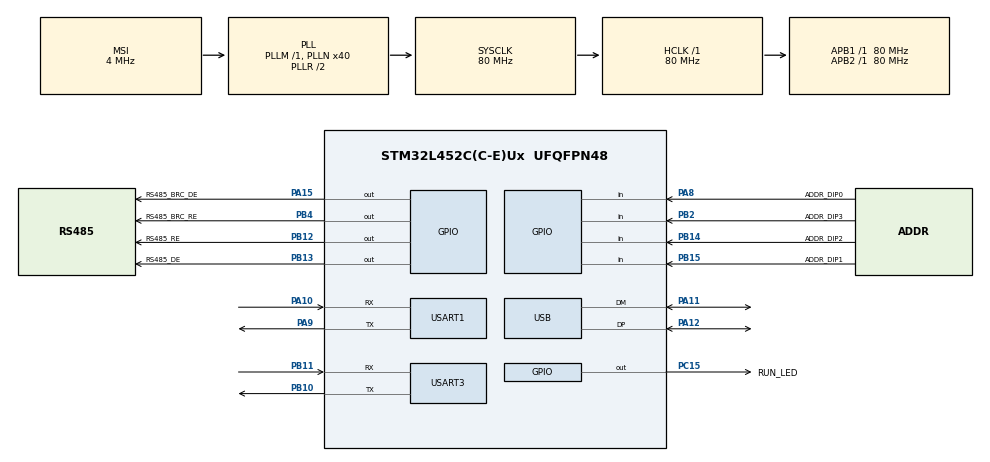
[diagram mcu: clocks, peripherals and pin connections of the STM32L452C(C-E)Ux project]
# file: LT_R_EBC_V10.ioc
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IWDG.Prescaler=IWDG_PRESCALER_32
Mcu.Family=STM32L4
Mcu.Name=STM32L452C(C-E)Ux
Mcu.Package=UFQFPN48
NVIC.PriorityGroup=NVIC_PRIORITYGROUP_4
NVIC.TIM1_CC_IRQn=true\:0\:0\:false\:false\:true\:true\:true\:true
NVIC.TIM2_IRQn=true\:0\:0\:false\:false\:true\:true\:true\:true
NVIC.TIM3_IRQn=true\:0\:0\:false\:false\:true\:true\:true\:true
NVIC.USART1_IRQn=true\:0\:0\:false\:false\:true\:true\:true\:true
NVIC.USART3_IRQn=true\:0\:0\:false\:false\:true\:true\:true\:true
NVIC.USB_IRQn=true\:0\:0\:false\:false\:true\:false\:true\:true
PA10.Mode=Asynchronous
PA10.Signal=USART1_RX
PA11.Mode=Device
PA11.Signal=USB_DM
PA12.Mode=Device
PA12.Signal=USB_DP
PA13\ (JTMS/SWDIO).Mode=Trace_Asynchronous_SW
PA13\ (JTMS/SWDIO).Signal=SYS_JTMS-SWDIO
PA14\ (JTCK/SWCLK).Mode=Trace_Asynchronous_SW
PA14\ (JTCK/SWCLK).Signal=SYS_JTCK-SWCLK
PA15\ (JTDI).GPIO_Label=RS485_BRC_DE
PA15\ (JTDI).Signal=GPIO_Output
PA8.GPIO_Label=ADDR_DIP0
PA8.GPIO_PuPd=GPIO_PULLUP
PA8.Signal=GPIO_Input
PA9.Mode=Asynchronous
PA9.Signal=USART1_TX
PB10.Mode=Asynchronous
PB10.Signal=USART3_TX
PB11.Mode=Asynchronous
PB11.Signal=USART3_RX
PB12.GPIO_Label=RS485_RE
PB12.Signal=GPIO_Output
PB13.GPIO_Label=RS485_DE
PB13.Signal=GPIO_Output
PB14.GPIO_Label=ADDR_DIP2
PB14.GPIO_PuPd=GPIO_PULLUP
PB14.Signal=GPIO_Input
PB15.GPIO_Label=ADDR_DIP1
PB15.GPIO_PuPd=GPIO_PULLUP
PB15.Signal=GPIO_Input
PB2.GPIO_Label=ADDR_DIP3
PB2.GPIO_PuPd=GPIO_PULLUP
PB2.Signal=GPIO_Input
PB3\ (JTDO/TRACESWO).Mode=Trace_Asynchronous_SW
PB3\ (JTDO/TRACESWO).Signal=SYS_JTDO-SWO
PB4\ (NJTRST).GPIO_Label=RS485_BRC_RE
PB4\ (NJTRST).Signal=GPIO_Output
PC15-OSC32_OUT\ (PC15).GPIO_Label=RUN_LED
PC15-OSC32_OUT\ (PC15).Signal=GPIO_Output
ProjectManager.HeapSize=0x200
ProjectManager.StackSize=0x400
ProjectManager.TargetToolchain=STM32CubeIDE
RCC.ADCFreq_Value=48000000
RCC.AHBFreq_Value=80000000
RCC.APB1Freq_Value=80000000
RCC.APB1TimFreq_Value=80000000
RCC.APB2Freq_Value=80000000
RCC.APB2TimFreq_Value=80000000
RCC.CortexFreq_Value=80000000
RCC.HCLKFreq_Value=80000000
RCC.HSE_VALUE=8000000
RCC.HSI48_VALUE=48000000
RCC.HSI_VALUE=16000000
RCC.LSE_VALUE=32768
RCC.MSI_VALUE=4000000
RCC.PLLN=40
RCC.PLLSAI1N=24
RCC.SYSCLKFreq_VALUE=80000000
RCC.SYSCLKSource=RCC_SYSCLKSOURCE_PLLCLK
RCC.USBFreq_Value=48000000
RCC.VCOOutputFreq_Value=160000000
TIM1.Channel-Output\ Compare1\ No\ Output=TIM_CHANNEL_1
TIM1.Period=10000
TIM1.Prescaler=8000
TIM2.Channel-Output\ Compare1\ No\ Output=TIM_CHANNEL_1
TIM2.Period=20000
TIM2.Prescaler=800
TIM3.Channel-Output\ Compare1\ No\ Output=TIM_CHANNEL_1
TIM3.Period=20000
TIM3.Prescaler=8000
USART1.VirtualMode-Asynchronous=VM_ASYNC
USART3.VirtualMode-Asynchronous=VM_ASYNC
USB_DEVICE.CLASS_NAME_FS=CDC
USB_DEVICE.VirtualMode=Cdc
USB_DEVICE.VirtualModeFS=Cdc_FS
VP_IWDG_VS_IWDG.Mode=IWDG_Activate
VP_TIM1_VS_ClockSourceINT.Mode=Internal
VP_TIM1_VS_no_output1.Mode=Output Compare1 No Output
VP_TIM2_VS_ClockSourceINT.Mode=Internal
VP_TIM2_VS_no_output1.Mode=Output Compare1 No Output
VP_TIM3_VS_ClockSourceINT.Mode=Internal
VP_TIM3_VS_no_output1.Mode=Output Compare1 No Output
VP_USB_DEVICE_VS_USB_DEVICE_CDC_FS.Mode=CDC_FS
board=custom

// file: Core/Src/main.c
/* USER CODE BEGIN Header */
/**
  ******************************************************************************
  * @file           : main.c
  * @brief          : Main program body
  ******************************************************************************
  * @attention
  *
  * Copyright (c) 2025 STMicroelectronics.
  * All rights reserved.
  *
  * This software is licensed under terms that can be found in the LICENSE file
  * in the root directory of this software component.
  * If no LICENSE file comes with this software, it is provided AS-IS.
  *
  ******************************************************************************
  */
/* USER CODE END Header */
#include "main.h"
#include "usb_device.h"

/* USER CODE BEGIN Includes */
#include "Compile_Data.h"
/* USER CODE END Includes */

IWDG_HandleTypeDef hiwdg;

TIM_HandleTypeDef htim1;
TIM_HandleTypeDef htim2;
TIM_HandleTypeDef htim3;

UART_HandleTypeDef huart1;
UART_HandleTypeDef huart3;

/* USER CODE BEGIN PV */

uint8_t Uart_rx1_buf[rx1_buf_len] ;
uint8_t Uart_rx1_buf_tmp[3] ;
int rx1_State ;
int rx1_buf_count;
int rx1_buf_count_tmp;
int rx1_Receive_complete;

uint8_t Uart_rx3_buf[rx3_buf_len] ;
uint8_t Uart_rx3_buf_tmp[3] ;
int rx3_State ;
int rx3_buf_count;
int rx3_buf_count_tmp;
int rx3_Receive_complete;

uint8_t POL_Sens_Date[5] ;

uint8_t EB_Mode_tmp[4] ;
uint8_t EB_Mode[1] ;

uint8_t EB_Type, EB_Com , EB_Com_St;

#define EBC_Data_Num    1024
uint8_t EBC_Data[EBC_Data_Num][12] ;
uint8_t EBC_ARK = 0x06;
uint8_t EBC_NARK = 0x15;

int EBC_Data_Cur_Num = 0;

int Timer_1S = 0;
int Timer_2S = 0;
int Timer_4S = 0;

extern int BC_STOP_MODE;

/* USER CODE END PV */

void SystemClock_Config(void);
static void MX_GPIO_Init(void);
static void MX_TIM1_Init(void);
static void MX_TIM2_Init(void);
static void MX_TIM3_Init(void);
static void MX_USART3_UART_Init(void);
static void MX_USART1_UART_Init(void);
static void MX_IWDG_Init(void);

/* USER CODE BEGIN 0 */

///////////////Start timer interrupt operation function///////////////////

void HAL_TIM_OC_DelayElapsedCallback(TIM_HandleTypeDef *htim)
{
  if(htim->Instance == TIM1){
	  HAL_IWDG_Refresh(&hiwdg);
  }

}

/* USER CODE END 0 */

int main(void)
{

  /* MCU Configuration--------------------------------------------------------*/

  /* Reset of all peripherals, Initializes the Flash interface and the Systick. */
  HAL_Init();

  /* Configure the system clock */
  SystemClock_Config();

  /* Initialize all configured peripherals */
  MX_GPIO_Init();
  MX_TIM1_Init();
  MX_TIM2_Init();
  MX_TIM3_Init();
  MX_USART3_UART_Init();
  MX_USB_DEVICE_Init();
  MX_USART1_UART_Init();
  MX_IWDG_Init();
  /* USER CODE BEGIN 2 */

  for(int i=0;i<EBC_Data_Num;i++){
    for(int j=0;j<12;j++){
      EBC_Data[i][j] = 0;
    }
  }
  EB_Mode_tmp[0] =  ~(HAL_GPIO_ReadPin(ADDR_DIP0_GPIO_Port, ADDR_DIP0_Pin)) & 0x01;
  EB_Mode_tmp[1] =  ~(HAL_GPIO_ReadPin(ADDR_DIP1_GPIO_Port, ADDR_DIP1_Pin)) & 0x01;
  EB_Mode_tmp[2] =  ~(HAL_GPIO_ReadPin(ADDR_DIP2_GPIO_Port, ADDR_DIP2_Pin)) & 0x01;
  EB_Mode_tmp[3] =  ~(HAL_GPIO_ReadPin(ADDR_DIP3_GPIO_Port, ADDR_DIP3_Pin)) & 0x01;

  EB_Mode[0] = (EB_Mode_tmp[3] << 3)|(EB_Mode_tmp[2] << 2)|(EB_Mode_tmp[1] << 1)|(EB_Mode_tmp[0] << 0);
  EB_Type = EB_Mode[0];

  /* huart1 RX Interrupt  Enable */
  /* Process Unlocked */
  __HAL_UNLOCK(&huart1);
  /* Enable the UART Parity Error Interrupt */
  __HAL_UART_ENABLE_IT(&huart1, UART_IT_PE);
  /* Enable the UART Error Interrupt: (Frame error, noise error, overrun error) */
  __HAL_UART_ENABLE_IT(&huart1, UART_IT_ERR);
  /* Enable the UART Data Register not empty Interrupt */
  __HAL_UART_ENABLE_IT(&huart1, UART_IT_RXNE);

  /* huart3 RX Interrupt  Enable */
  /* Process Unlocked */
  __HAL_UNLOCK(&huart3);
  /* Enable the UART Parity Error Interrupt */
  __HAL_UART_ENABLE_IT(&huart3, UART_IT_PE);
  /* Enable the UART Error Interrupt: (Frame error, noise error, overrun error) */
  __HAL_UART_ENABLE_IT(&huart3, UART_IT_ERR);
  /* Enable the UART Data Register not empty Interrupt */
  __HAL_UART_ENABLE_IT(&huart3, UART_IT_RXNE);

  HAL_TIM_OC_Start_IT(&htim1,TIM_CHANNEL_1);
  HAL_TIM_OC_Start_IT(&htim2,TIM_CHANNEL_1);
  HAL_TIM_OC_Start_IT(&htim3,TIM_CHANNEL_1);

  POL_Sens_Date[0] = 0x02;
  POL_Sens_Date[1] = 0x50;
  POL_Sens_Date[2] = 0x4F;
  POL_Sens_Date[3] = 0x4C;
  POL_Sens_Date[4] = 0x03;

  Compile_Date();

  /* USER CODE END 2 */

  /* Infinite loop */
  while (1)
  {

    /* USER CODE BEGIN 3 */

	    /* Enable the UART Error Interrupt: (Frame error, noise error, overrun error) */
	    __HAL_UART_ENABLE_IT(&huart1, UART_IT_ERR);
	    /* Enable the UART Data Register not empty Interrupt */
	    __HAL_UART_ENABLE_IT(&huart1, UART_IT_RXNE);

	    /* Enable the UART Error Interrupt: (Frame error, noise error, overrun error) */
	    __HAL_UART_ENABLE_IT(&huart3, UART_IT_ERR);
	    /* Enable the UART Data Register not empty Interrupt */
	    __HAL_UART_ENABLE_IT(&huart3, UART_IT_RXNE);

	    if(rx3_Receive_complete == 1){
	      SW_Com();
	    }

  }
  /* USER CODE END 3 */
}

void SystemClock_Config(void)
{
  RCC_OscInitTypeDef RCC_OscInitStruct = {0};
  RCC_ClkInitTypeDef RCC_ClkInitStruct = {0};

  /** Configure the main internal regulator output voltage
  */
  if (HAL_PWREx_ControlVoltageScaling(PWR_REGULATOR_VOLTAGE_SCALE1) != HAL_OK)
  {
    Error_Handler();
  }

  /** Initializes the RCC Oscillators according to the specified parameters
  * in the RCC_OscInitTypeDef structure.
  */
  RCC_OscInitStruct.OscillatorType = RCC_OSCILLATORTYPE_LSI|RCC_OSCILLATORTYPE_MSI;
  RCC_OscInitStruct.LSIState = RCC_LSI_ON;
  RCC_OscInitStruct.MSIState = RCC_MSI_ON;
  RCC_OscInitStruct.MSICalibrationValue = 0;
  RCC_OscInitStruct.MSIClockRange = RCC_MSIRANGE_6;
  RCC_OscInitStruct.PLL.PLLState = RCC_PLL_ON;
  RCC_OscInitStruct.PLL.PLLSource = RCC_PLLSOURCE_MSI;
  RCC_OscInitStruct.PLL.PLLM = 1;
  RCC_OscInitStruct.PLL.PLLN = 40;
  RCC_OscInitStruct.PLL.PLLP = RCC_PLLP_DIV7;
  RCC_OscInitStruct.PLL.PLLQ = RCC_PLLQ_DIV2;
  RCC_OscInitStruct.PLL.PLLR = RCC_PLLR_DIV2;
  if (HAL_RCC_OscConfig(&RCC_OscInitStruct) != HAL_OK)
  {
    Error_Handler();
  }

  /** Initializes the CPU, AHB and APB buses clocks
  */
  RCC_ClkInitStruct.ClockType = RCC_CLOCKTYPE_HCLK|RCC_CLOCKTYPE_SYSCLK
                              |RCC_CLOCKTYPE_PCLK1|RCC_CLOCKTYPE_PCLK2;
  RCC_ClkInitStruct.SYSCLKSource = RCC_SYSCLKSOURCE_PLLCLK;
  RCC_ClkInitStruct.AHBCLKDivider = RCC_SYSCLK_DIV1;
  RCC_ClkInitStruct.APB1CLKDivider = RCC_HCLK_DIV1;
  RCC_ClkInitStruct.APB2CLKDivider = RCC_HCLK_DIV1;

  if (HAL_RCC_ClockConfig(&RCC_ClkInitStruct, FLASH_LATENCY_4) != HAL_OK)
  {
    Error_Handler();
  }
}

static void MX_IWDG_Init(void)
{

  hiwdg.Instance = IWDG;
  hiwdg.Init.Prescaler = IWDG_PRESCALER_32;
  hiwdg.Init.Window = 4095;
  hiwdg.Init.Reload = 4095;
  if (HAL_IWDG_Init(&hiwdg) != HAL_OK)
  {
    Error_Handler();
  }

}

static void MX_TIM1_Init(void)
{

  TIM_ClockConfigTypeDef sClockSourceConfig = {0};
  TIM_MasterConfigTypeDef sMasterConfig = {0};
  TIM_OC_InitTypeDef sConfigOC = {0};
  TIM_BreakDeadTimeConfigTypeDef sBreakDeadTimeConfig = {0};

  htim1.Instance = TIM1;
  htim1.Init.Prescaler = 8000;
  htim1.Init.CounterMode = TIM_COUNTERMODE_UP;
  htim1.Init.Period = 10000;
  htim1.Init.ClockDivision = TIM_CLOCKDIVISION_DIV1;
  htim1.Init.RepetitionCounter = 0;
  htim1.Init.AutoReloadPreload = TIM_AUTORELOAD_PRELOAD_DISABLE;
  if (HAL_TIM_Base_Init(&htim1) != HAL_OK)
  {
    Error_Handler();
  }
  sClockSourceConfig.ClockSource = TIM_CLOCKSOURCE_INTERNAL;
  if (HAL_TIM_ConfigClockSource(&htim1, &sClockSourceConfig) != HAL_OK)
  {
    Error_Handler();
  }
  if (HAL_TIM_OC_Init(&htim1) != HAL_OK)
  {
    Error_Handler();
  }
  sMasterConfig.MasterOutputTrigger = TIM_TRGO_RESET;
  sMasterConfig.MasterOutputTrigger2 = TIM_TRGO2_RESET;
  sMasterConfig.MasterSlaveMode = TIM_MASTERSLAVEMODE_DISABLE;
  if (HAL_TIMEx_MasterConfigSynchronization(&htim1, &sMasterConfig) != HAL_OK)
  {
    Error_Handler();
  }
  sConfigOC.OCMode = TIM_OCMODE_TIMING;
  sConfigOC.Pulse = 0;
  sConfigOC.OCPolarity = TIM_OCPOLARITY_HIGH;
  sConfigOC.OCNPolarity = TIM_OCNPOLARITY_HIGH;
  sConfigOC.OCFastMode = TIM_OCFAST_DISABLE;
  sConfigOC.OCIdleState = TIM_OCIDLESTATE_RESET;
  sConfigOC.OCNIdleState = TIM_OCNIDLESTATE_RESET;
  if (HAL_TIM_OC_ConfigChannel(&htim1, &sConfigOC, TIM_CHANNEL_1) != HAL_OK)
  {
    Error_Handler();
  }
  sBreakDeadTimeConfig.OffStateRunMode = TIM_OSSR_DISABLE;
  sBreakDeadTimeConfig.OffStateIDLEMode = TIM_OSSI_DISABLE;
  sBreakDeadTimeConfig.LockLevel = TIM_LOCKLEVEL_OFF;
  sBreakDeadTimeConfig.DeadTime = 0;
  sBreakDeadTimeConfig.BreakState = TIM_BREAK_DISABLE;
  sBreakDeadTimeConfig.BreakPolarity = TIM_BREAKPOLARITY_HIGH;
  sBreakDeadTimeConfig.BreakFilter = 0;
  sBreakDeadTimeConfig.Break2State = TIM_BREAK2_DISABLE;
  sBreakDeadTimeConfig.Break2Polarity = TIM_BREAK2POLARITY_HIGH;
  sBreakDeadTimeConfig.Break2Filter = 0;
  sBreakDeadTimeConfig.AutomaticOutput = TIM_AUTOMATICOUTPUT_DISABLE;
  if (HAL_TIMEx_ConfigBreakDeadTime(&htim1, &sBreakDeadTimeConfig) != HAL_OK)
  {
    Error_Handler();
  }

}

static void MX_TIM2_Init(void)
{

  TIM_ClockConfigTypeDef sClockSourceConfig = {0};
  TIM_MasterConfigTypeDef sMasterConfig = {0};
  TIM_OC_InitTypeDef sConfigOC = {0};

  htim2.Instance = TIM2;
  htim2.Init.Prescaler = 800;
  htim2.Init.CounterMode = TIM_COUNTERMODE_UP;
  htim2.Init.Period = 20000;
  htim2.Init.ClockDivision = TIM_CLOCKDIVISION_DIV1;
  htim2.Init.AutoReloadPreload = TIM_AUTORELOAD_PRELOAD_DISABLE;
  if (HAL_TIM_Base_Init(&htim2) != HAL_OK)
  {
    Error_Handler();
  }
  sClockSourceConfig.ClockSource = TIM_CLOCKSOURCE_INTERNAL;
  if (HAL_TIM_ConfigClockSource(&htim2, &sClockSourceConfig) != HAL_OK)
  {
    Error_Handler();
  }
  if (HAL_TIM_OC_Init(&htim2) != HAL_OK)
  {
    Error_Handler();
  }
  sMasterConfig.MasterOutputTrigger = TIM_TRGO_RESET;
  sMasterConfig.MasterSlaveMode = TIM_MASTERSLAVEMODE_DISABLE;
  if (HAL_TIMEx_MasterConfigSynchronization(&htim2, &sMasterConfig) != HAL_OK)
  {
    Error_Handler();
  }
  sConfigOC.OCMode = TIM_OCMODE_TIMING;
  sConfigOC.Pulse = 0;
  sConfigOC.OCPolarity = TIM_OCPOLARITY_HIGH;
  sConfigOC.OCFastMode = TIM_OCFAST_DISABLE;
  if (HAL_TIM_OC_ConfigChannel(&htim2, &sConfigOC, TIM_CHANNEL_1) != HAL_OK)
  {
    Error_Handler();
  }

}

static void MX_TIM3_Init(void)
{

  TIM_ClockConfigTypeDef sClockSourceConfig = {0};
  TIM_MasterConfigTypeDef sMasterConfig = {0};
  TIM_OC_InitTypeDef sConfigOC = {0};

  htim3.Instance = TIM3;
  htim3.Init.Prescaler = 8000;
  htim3.Init.CounterMode = TIM_COUNTERMODE_UP;
  htim3.Init.Period = 20000;
  htim3.Init.ClockDivision = TIM_CLOCKDIVISION_DIV1;
  htim3.Init.AutoReloadPreload = TIM_AUTORELOAD_PRELOAD_DISABLE;
  if (HAL_TIM_Base_Init(&htim3) != HAL_OK)
  {
    Error_Handler();
  }
  sClockSourceConfig.ClockSource = TIM_CLOCKSOURCE_INTERNAL;
  if (HAL_TIM_ConfigClockSource(&htim3, &sClockSourceConfig) != HAL_OK)
  {
    Error_Handler();
  }
  if (HAL_TIM_OC_Init(&htim3) != HAL_OK)
  {
    Error_Handler();
  }
  sMasterConfig.MasterOutputTrigger = TIM_TRGO_RESET;
  sMasterConfig.MasterSlaveMode = TIM_MASTERSLAVEMODE_DISABLE;
  if (HAL_TIMEx_MasterConfigSynchronization(&htim3, &sMasterConfig) != HAL_OK)
  {
    Error_Handler();
  }
  sConfigOC.OCMode = TIM_OCMODE_TIMING;
  sConfigOC.Pulse = 0;
  sConfigOC.OCPolarity = TIM_OCPOLARITY_HIGH;
  sConfigOC.OCFastMode = TIM_OCFAST_DISABLE;
  if (HAL_TIM_OC_ConfigChannel(&htim3, &sConfigOC, TIM_CHANNEL_1) != HAL_OK)
  {
    Error_Handler();
  }

}

static void MX_USART1_UART_Init(void)
{

  huart1.Instance = USART1;
  huart1.Init.BaudRate = 115200;
  huart1.Init.WordLength = UART_WORDLENGTH_8B;
  huart1.Init.StopBits = UART_STOPBITS_1;
  huart1.Init.Parity = UART_PARITY_NONE;
  huart1.Init.Mode = UART_MODE_TX_RX;
  huart1.Init.HwFlowCtl = UART_HWCONTROL_NONE;
  huart1.Init.OverSampling = UART_OVERSAMPLING_16;
  huart1.Init.OneBitSampling = UART_ONE_BIT_SAMPLE_DISABLE;
  huart1.AdvancedInit.AdvFeatureInit = UART_ADVFEATURE_NO_INIT;
  if (HAL_UART_Init(&huart1) != HAL_OK)
  {
    Error_Handler();
  }

}

static void MX_USART3_UART_Init(void)
{

  huart3.Instance = USART3;
  huart3.Init.BaudRate = 115200;
  huart3.Init.WordLength = UART_WORDLENGTH_8B;
  huart3.Init.StopBits = UART_STOPBITS_1;
  huart3.Init.Parity = UART_PARITY_NONE;
  huart3.Init.Mode = UART_MODE_TX_RX;
  huart3.Init.HwFlowCtl = UART_HWCONTROL_NONE;
  huart3.Init.OverSampling = UART_OVERSAMPLING_16;
  huart3.Init.OneBitSampling = UART_ONE_BIT_SAMPLE_DISABLE;
  huart3.AdvancedInit.AdvFeatureInit = UART_ADVFEATURE_NO_INIT;
  if (HAL_UART_Init(&huart3) != HAL_OK)
  {
    Error_Handler();
  }

}

static void MX_GPIO_Init(void)
{
  GPIO_InitTypeDef GPIO_InitStruct = {0};

  /* GPIO Ports Clock Enable */
  __HAL_RCC_GPIOC_CLK_ENABLE();
  __HAL_RCC_GPIOB_CLK_ENABLE();
  __HAL_RCC_GPIOA_CLK_ENABLE();

  /*Configure GPIO pin Output Level */
  HAL_GPIO_WritePin(RUN_LED_GPIO_Port, RUN_LED_Pin, GPIO_PIN_RESET);

  /*Configure GPIO pin Output Level */
  HAL_GPIO_WritePin(GPIOB, RS485_RE_Pin|RS485_DE_Pin|RS485_BRC_RE_Pin, GPIO_PIN_RESET);

  /*Configure GPIO pin Output Level */
  HAL_GPIO_WritePin(RS485_BRC_DE_GPIO_Port, RS485_BRC_DE_Pin, GPIO_PIN_RESET);

  /*Configure GPIO pin : RUN_LED_Pin */
  GPIO_InitStruct.Pin = RUN_LED_Pin;
  GPIO_InitStruct.Mode = GPIO_MODE_OUTPUT_PP;
  GPIO_InitStruct.Pull = GPIO_NOPULL;
  GPIO_InitStruct.Speed = GPIO_SPEED_FREQ_LOW;
  HAL_GPIO_Init(RUN_LED_GPIO_Port, &GPIO_InitStruct);

  /*Configure GPIO pins : ADDR_DIP3_Pin ADDR_DIP2_Pin ADDR_DIP1_Pin */
  GPIO_InitStruct.Pin = ADDR_DIP3_Pin|ADDR_DIP2_Pin|ADDR_DIP1_Pin;
  GPIO_InitStruct.Mode = GPIO_MODE_INPUT;
  GPIO_InitStruct.Pull = GPIO_PULLUP;
  HAL_GPIO_Init(GPIOB, &GPIO_InitStruct);

  /*Configure GPIO pins : RS485_RE_Pin RS485_DE_Pin RS485_BRC_RE_Pin */
  GPIO_InitStruct.Pin = RS485_RE_Pin|RS485_DE_Pin|RS485_BRC_RE_Pin;
  GPIO_InitStruct.Mode = GPIO_MODE_OUTPUT_PP;
  GPIO_InitStruct.Pull = GPIO_NOPULL;
  GPIO_InitStruct.Speed = GPIO_SPEED_FREQ_LOW;
  HAL_GPIO_Init(GPIOB, &GPIO_InitStruct);

  /*Configure GPIO pin : ADDR_DIP0_Pin */
  GPIO_InitStruct.Pin = ADDR_DIP0_Pin;
  GPIO_InitStruct.Mode = GPIO_MODE_INPUT;
  GPIO_InitStruct.Pull = GPIO_PULLUP;
  HAL_GPIO_Init(ADDR_DIP0_GPIO_Port, &GPIO_InitStruct);

  /*Configure GPIO pin : RS485_BRC_DE_Pin */
  GPIO_InitStruct.Pin = RS485_BRC_DE_Pin;
  GPIO_InitStruct.Mode = GPIO_MODE_OUTPUT_PP;
  GPIO_InitStruct.Pull = GPIO_NOPULL;
  GPIO_InitStruct.Speed = GPIO_SPEED_FREQ_LOW;
  HAL_GPIO_Init(RS485_BRC_DE_GPIO_Port, &GPIO_InitStruct);

}

/* USER CODE BEGIN 4 */

#define tx_buf_len 12
uint8_t Uart_tx_buf[tx_buf_len] ;

#define tx_Q_buf_len 18
uint8_t Uart_tx_Q_buf[tx_Q_buf_len] ;

void SW_Com(void){

  // CRC 체크

  int i,Uart3_crc , EBC_Data_CRC, Uart_crc;

  // 전송할 중계기 정보를 확인한다.

  Uart3_crc = 0;

  for(i = 0; i <rx3_buf_count_tmp - 5 ; i++){
    Uart3_crc = Uart3_crc ^ Uart_rx3_buf[i+2];
  }

  if(Uart3_crc == Uart_rx3_buf[rx3_buf_count_tmp - 3]){

    if(Uart_rx3_buf[4] == 0x42){        // EB board: '0x42'

      if(Uart_rx3_buf[3] == 0x51){

        Uart_tx_Q_buf[0] = 0x53;    //S
        Uart_tx_Q_buf[1] = 0x54;    //T
        Uart_tx_Q_buf[2] = 0x42;    //B
        Uart_tx_Q_buf[3] = 0x52;    //R
        Uart_tx_Q_buf[4] = 0x01;    //address
        Uart_tx_Q_buf[5] = 0x0A;    //version 10 -> 1.0
        Uart_tx_Q_buf[6] = 0x00;
        Uart_tx_Q_buf[7] = 0x00;
        Uart_tx_Q_buf[8] = 0x00;
        Uart_tx_Q_buf[9] = 0x00;
        Uart_tx_Q_buf[10] = 0x00;
        Uart_tx_Q_buf[11] = 0x00;
        Uart_tx_Q_buf[12] = 0x00;
        Uart_tx_Q_buf[13] = 0x00;   //dummy1
        Uart_tx_Q_buf[14] = 0x00;   //dummy2
        Uart_tx_Q_buf[15] = 0x00;   //CRC
        Uart_tx_Q_buf[16] = 0x45;   //E
        Uart_tx_Q_buf[17] = 0x44;   //D

        Uart_tx_Q_buf[14] = EB_Com_St;

        Uart_crc = 0;

        for(i = 0; i <tx_buf_len - 5 ; i++){
          Uart_crc = Uart_crc ^ Uart_tx_Q_buf[i+2];
        }
        Uart_tx_Q_buf[15] = Uart_crc;

        HAL_GPIO_WritePin(RS485_DE_GPIO_Port , RS485_DE_Pin , GPIO_PIN_SET);
        HAL_GPIO_WritePin(RS485_RE_GPIO_Port , RS485_RE_Pin , GPIO_PIN_SET);

        if(HAL_UART_Transmit(&huart3, Uart_tx_Q_buf, sizeof(Uart_tx_Q_buf), 1000)!= HAL_OK)
            {
              Error_Handler();
            }

        HAL_GPIO_WritePin(RS485_DE_GPIO_Port , RS485_DE_Pin , GPIO_PIN_RESET);
        HAL_GPIO_WritePin(RS485_RE_GPIO_Port , RS485_RE_Pin , GPIO_PIN_RESET);

      }

      else if(Uart_rx3_buf[3] == 0x53){

        EBC_Data[EBC_Data_Cur_Num][0] = 0x02;
        EBC_Data[EBC_Data_Cur_Num][1] = Uart_rx3_buf[6];
        EBC_Data[EBC_Data_Cur_Num][2] = Uart_rx3_buf[7];
        EBC_Data[EBC_Data_Cur_Num][3] = 0x2D;
        EBC_Data[EBC_Data_Cur_Num][4] = Uart_rx3_buf[8];
        EBC_Data[EBC_Data_Cur_Num][5] = Uart_rx3_buf[9];
        EBC_Data[EBC_Data_Cur_Num][6] = 0x2D;
        EBC_Data[EBC_Data_Cur_Num][7] = Uart_rx3_buf[10];
        EBC_Data[EBC_Data_Cur_Num][8] = Uart_rx3_buf[11];
        EBC_Data[EBC_Data_Cur_Num][9] = Uart_rx3_buf[12];
        EBC_Data[EBC_Data_Cur_Num][11] = 0x03;

        EBC_Data_CRC = 0;
        /*
        for(i = 0; i < 10; i++){
          EBC_Data_CRC = EBC_Data_CRC + EBC_Data[EBC_Data_Cur_Num][i];
        }

        EBC_Data_CRC = EBC_Data_CRC + EBC_Data[EBC_Data_Cur_Num][1];
        */
        for(int j = 6; j < 12 ; j++){
          if(Uart_rx3_buf[j] == 0){
            Uart_rx3_buf[j] = 0x30;
          }
        }

        for(int j = 0; j < 12 ; j++){
          EBC_Data_CRC = EBC_Data_CRC + EBC_Data[EBC_Data_Cur_Num][j];
        }

        EBC_Data_CRC = EBC_Data_CRC % 16 + 0x30;
        EBC_Data[EBC_Data_Cur_Num][10] = (char)EBC_Data_CRC;

        if(Uart_rx3_buf[14] == 0x01){

          EBC_Data_Cur_Num++;
          EB_Com_St = 0;

        }
        else if(Uart_rx3_buf[14] == 0x00){

           EB_Com_St = 1;
           if(EB_Com == 0){
             EB_Com_St = Start_EB_Com();
           }

          EB_Com = 0;
        }
      }
      else if(Uart_rx3_buf[3] == 0x56){
    	  SUB_Com_SW_V();
      }

    }
    else{
      Send_P_Data();
    }
  }

  rx3_Receive_complete = 0;

  for(i=0;i<rx3_buf_len;i++){
    Uart_rx3_buf[i] = 0;
  }
}

int Start_EB_Com(void){

  uint8_t Uart_tx_buf[12];
  int i, j , k , l;

  int EB_state;

  EBC_Data_Cur_Num++;
  EB_state = 1;
  EB_Com = 1;

  if(EB_Type == SinWha_Type){

    for(i=0;i<EBC_Data_Cur_Num;i++){

      for(j = 0;j<12;j++){
        Uart_tx_buf[j] = EBC_Data[i][j];
      }

      for(l=0;l<3;l++){

        rx1_Receive_complete = 0;
        HAL_GPIO_WritePin(RS485_BRC_DE_GPIO_Port , RS485_BRC_DE_Pin , GPIO_PIN_SET);
        HAL_GPIO_WritePin(RS485_BRC_RE_GPIO_Port , RS485_BRC_RE_Pin , GPIO_PIN_SET);

        if(HAL_UART_Transmit(&huart1, Uart_tx_buf, sizeof(Uart_tx_buf), 1000)!= HAL_OK)
          {
            Error_Handler();
          }

        HAL_GPIO_WritePin(RS485_BRC_DE_GPIO_Port , RS485_BRC_DE_Pin , GPIO_PIN_RESET);
        HAL_GPIO_WritePin(RS485_BRC_RE_GPIO_Port , RS485_BRC_RE_Pin , GPIO_PIN_RESET);

        for(k = 0; k < 50;k++){
          if(rx1_Receive_complete == 1){
            break;
          }

          Wate_EB_Com(1);
        }

        if(Uart_rx1_buf_tmp[0] == EBC_ARK){
          EB_state = 1;
          break;
        }
        else if(Uart_rx1_buf_tmp[0] == EBC_NARK){
          EB_state = 2;
        }
        else{
          EB_state = 2;
        }
        Wate_EB_Com(500);
      }

      if(EB_state == 2){
        break;
      }
    }

  }
  else if(EB_Type == DongBang_Type){

    for(i=0;i<EBC_Data_Cur_Num;i++){

      for(j = 0;j<12;j++){
        Uart_tx_buf[j] = EBC_Data[i][j];
      }

      HAL_GPIO_WritePin(RS485_BRC_DE_GPIO_Port , RS485_BRC_DE_Pin , GPIO_PIN_SET);
      HAL_GPIO_WritePin(RS485_BRC_RE_GPIO_Port , RS485_BRC_RE_Pin , GPIO_PIN_SET);

      if(HAL_UART_Transmit(&huart1, Uart_tx_buf, sizeof(Uart_tx_buf), 1000)!= HAL_OK)
        {
          Error_Handler();
      }

      HAL_GPIO_WritePin(RS485_BRC_DE_GPIO_Port , RS485_BRC_DE_Pin , GPIO_PIN_RESET);
      HAL_GPIO_WritePin(RS485_BRC_RE_GPIO_Port , RS485_BRC_RE_Pin , GPIO_PIN_RESET);

      Wate_EB_Com(500);
    }

    EB_state = 0;

  }
  else if(EB_Type == Coex_Type){
    for(i=0;i<EBC_Data_Cur_Num;i++){

      for(j = 0;j<12;j++){
        Uart_tx_buf[j] = EBC_Data[i][j];
      }

      HAL_GPIO_WritePin(RS485_BRC_DE_GPIO_Port , RS485_BRC_DE_Pin , GPIO_PIN_SET);
      HAL_GPIO_WritePin(RS485_BRC_RE_GPIO_Port , RS485_BRC_RE_Pin , GPIO_PIN_SET);

      if(HAL_UART_Transmit(&huart1, Uart_tx_buf, sizeof(Uart_tx_buf), 1000)!= HAL_OK)
        {
          Error_Handler();
      }

      HAL_GPIO_WritePin(RS485_BRC_DE_GPIO_Port , RS485_BRC_DE_Pin , GPIO_PIN_RESET);
      HAL_GPIO_WritePin(RS485_BRC_RE_GPIO_Port , RS485_BRC_RE_Pin , GPIO_PIN_RESET);

      Wate_EB_Com(1000);
    }

    EB_state = 0;
  }

  for(i=0;i<EBC_Data_Cur_Num;i++){
    for(j = 0;j<12;j++){
        EBC_Data[i][j] = 0;
    }
  }
  EBC_Data_Cur_Num = 0;

  return EB_state;
}

void Wate_EB_Com(int wate_time){

  int i;

  for(i=0; i<wate_time;i++){

    if(rx3_Receive_complete == 1){
        SW_Com();
    }
    HAL_Delay(1);
  }
}

void Send_P_Data(void){

  if(Timer_4S == 1){
    HAL_GPIO_WritePin(RS485_BRC_DE_GPIO_Port , RS485_BRC_DE_Pin , GPIO_PIN_SET);
    HAL_GPIO_WritePin(RS485_BRC_RE_GPIO_Port , RS485_BRC_RE_Pin , GPIO_PIN_SET);

    if(HAL_UART_Transmit(&huart1, POL_Sens_Date, sizeof(POL_Sens_Date), 1000)!= HAL_OK)
    {
      Error_Handler();
    }

    HAL_GPIO_WritePin(RS485_BRC_DE_GPIO_Port , RS485_BRC_DE_Pin , GPIO_PIN_RESET);
    HAL_GPIO_WritePin(RS485_BRC_RE_GPIO_Port , RS485_BRC_RE_Pin , GPIO_PIN_RESET);
  }

  Timer_4S = 0;
}

#define Sub_MCC_R_length      15

void SUB_Com_SW_V(void){

	uint8_t Uart_crc;

    Uart_tx_buf[0] = 0x53;    //S
    Uart_tx_buf[1] = 0x54;    //T
    Uart_tx_buf[2] = 0x53;    //S
    Uart_tx_buf[3] = 0x76;    //v
    Uart_tx_buf[4] = 0x42;    //MCC Ebc
    Uart_tx_buf[5] = 1;    //address
    Uart_tx_buf[6] = F_Version_Year;
    Uart_tx_buf[7] = F_Version_Month;
    Uart_tx_buf[8] = F_Version_Day;
    Uart_tx_buf[9] = F_Version_Hour;
    Uart_tx_buf[10] = F_Version_Min;
    Uart_tx_buf[11] = F_Version_Sec;
    Uart_tx_buf[12] = 0x00;   //CRC
    Uart_tx_buf[13] = 0x45;   //E
    Uart_tx_buf[14] = 0x44;   //D

    for(int i = 0; i <Sub_MCC_R_length - 5 ; i++){
      Uart_crc = Uart_crc ^ Uart_tx_buf[i+2];
    }
    Uart_tx_buf[Sub_MCC_R_length-3] = Uart_crc;

    HAL_GPIO_WritePin(RS485_DE_GPIO_Port , RS485_DE_Pin , GPIO_PIN_SET);
    HAL_GPIO_WritePin(RS485_RE_GPIO_Port , RS485_RE_Pin , GPIO_PIN_SET);

    HAL_Delay(1);
    if(HAL_UART_Transmit(&huart3, Uart_tx_buf, Sub_MCC_R_length, 1000)!= HAL_OK)
        {
          Error_Handler();
        }

    HAL_Delay(1);

    HAL_GPIO_WritePin(RS485_DE_GPIO_Port , RS485_DE_Pin , GPIO_PIN_RESET);
    HAL_GPIO_WritePin(RS485_RE_GPIO_Port , RS485_RE_Pin , GPIO_PIN_RESET);

}
/* USER CODE END 4 */

void Error_Handler(void)
{
  __disable_irq();
  while (1)
  {
  }
}
